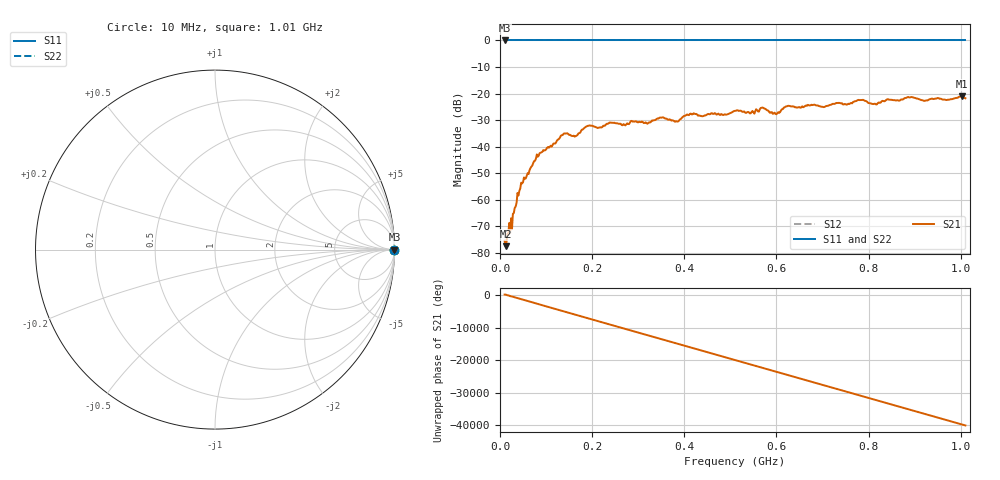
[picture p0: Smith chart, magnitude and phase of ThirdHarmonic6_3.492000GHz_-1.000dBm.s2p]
! 8/17/2025 11:23:06 AM
! C:\ANRITSUVNA\TEMP\TEMP.S2P
! CHANNEL.1
! TR.MEASUREMENT
! RAW.DATA
! RF.CORRECTION.OFF
! AVERAGING.OFF
! IF.BANDWIDTH: 5KHZ
! SWEEPTYPE:  FREQ.SWEEP(Linear)
! Reference Plane Port Info
! PORT:  PORT1  PORT2
! DISTANCE:  0  m  0  m
! TIME:  0  s  0  s
! PHASE.OFFSET:  0  deg.  0  deg.
! LOSS:  0  dB  0  dB
! REF.LOSS:  0  dB  0  dB
! REF.FREQ:  0  Hz  0  Hz
! Power Info
! POWER:  -20  dBm  -20  dBm
! EFF.POWER:  -20  dBm  -20  dBm
! SOURCE.ATTEN:  0  dB  0  dB
! TEST.ATTEN:  0  dB  0  dB
# GHZ S RI R 50.0
! FREQ.GHZ  S11RE  S11IM  S21RE  S21IM  S12RE  S12IM  S22RE  S22IM
!; PortSelection: Port_12
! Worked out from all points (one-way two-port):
!   501 points, 10 MHz to 1.01 GHz, reference 50 ohm
!   highest |S21| = -21.05 dB at 1.002 GHz (marker M1); lowest = -77.5 dB at 12 MHz (marker M2)
!   lowest |S11| = 0.0 dB at 10 MHz (marker M3)
!   |S11| at or under -10 dB: nowhere
!   |S22| runs from 0.0 to 0.0 dB; largest |S21 - S12| = 1.1
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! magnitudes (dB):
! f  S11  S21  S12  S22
! 10 MHz  0.0  -75.5  0.0  0.0
! 12 MHz  0.0  -77.5  0.0  0.0
! 26 MHz  0.0  -71.1  0.0  0.0
! 42 MHz  0.0  -56.7  0.0  0.0
! 76 MHz  0.0  -45.3  0.0  0.0
! 136 MHz  0.0  -35.7  0.0  0.0
! 164 MHz  0.0  -36.1  0.0  0.0
! 178 MHz  0.0  -33.6  0.0  0.0
! 344 MHz  0.0  -29.4  0.0  0.0
! 384 MHz  0.0  -30.5  0.0  0.0
! 410 MHz  0.0  -28.1  0.0  0.0
! 510 MHz  0.0  -26.5  0.0  0.0
! 548 MHz  0.0  -26.6  0.0  0.0
! 570 MHz  0.0  -25.3  0.0  0.0
! 596 MHz  0.0  -27.2  0.0  0.0
! 624 MHz  0.0  -24.7  0.0  0.0
! 678 MHz  0.0  -24.4  0.0  0.0
! 784 MHz  0.0  -22.5  0.0  0.0
! 814 MHz  0.0  -23.8  0.0  0.0
! 844 MHz  0.0  -22.3  0.0  0.0
! 1.002 GHz  0.0  -21.1  0.0  0.0
! 1.01 GHz  0.0  -21.8  0.0  0.0
